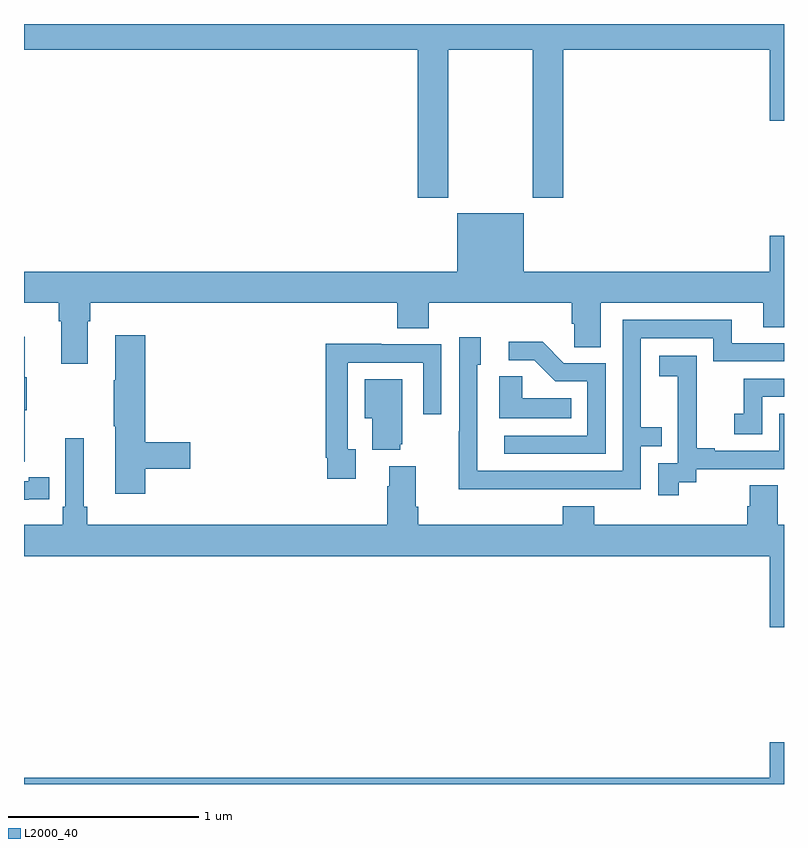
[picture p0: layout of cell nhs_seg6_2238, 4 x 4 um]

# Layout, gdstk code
import gdstk
lib = gdstk.Library(unit=1e-6, precision=1e-09)
def P(c, l, *ps):  # polygons
    for p in ps: c.add(gdstk.Polygon(p, *l))
L2000_40 = (2000, 40)

nhs_seg6_2238 = lib.new_cell('nhs_seg6_2238')
P(nhs_seg6_2238, L2000_40, [(247.233,919.364),(247.678,919.364),(247.678,918.585),(247.838,918.585),(247.838,919.364),(248.924,919.364),(248.924,918.99),(249,918.99),(249,919.5),(245,919.5),(245,919.364),(247.073,919.364),(247.073,918.585),(247.233,918.585)],
  [(245.335,917.936),(245.348,917.936),(245.348,918.032),(246.965,918.032),(246.965,917.899),(247.13,917.899),(247.13,918.032),(247.883,918.032),(247.883,917.923),(247.896,917.923),(247.896,917.8),(248.035,917.8),(248.035,918.032),(248.891,918.032),(248.891,917.905),(249,917.905),(249,918.385),(248.924,918.385),(248.924,918.196),(247.63,918.196),(247.63,918.505),(247.28,918.505),(247.28,918.196),(245,918.196),(245,918.032),(245.183,918.032),(245.183,917.936),(245.195,917.936),(245.195,917.712),(245.335,917.712)],
  [(247.751,917.052),(248.247,917.052),(248.247,917.277),(248.357,917.277),(248.357,917.378),(248.247,917.378),(248.247,917.847),(248.628,917.847),(248.628,917.724),(249,917.724),(249,917.82),(248.725,917.82),(248.725,917.943),(248.151,917.943),(248.151,917.148),(247.386,917.148),(247.386,917.706),(247.405,917.706),(247.405,917.851),(247.29,917.851),(247.29,917.357),(247.288,917.357),(247.288,917.051),(247.751,917.051)],
  [(245.639,917.158),(245.875,917.158),(245.875,917.3),(245.639,917.3),(245.639,917.863),(245.48,917.863),(245.48,917.624),(245.473,917.624),(245.473,917.383),(245.48,917.383),(245.48,917.028),(245.639,917.028)],
  [(245.003,917.467),(245.014,917.467),(245.014,917.641),(245.003,917.641),(245.003,917.854),(245,917.854),(245,917.196),(245.003,917.196)],
  [(248.061,917.715),(247.842,917.715),(247.729,917.828),(247.551,917.828),(247.551,917.73),(247.685,917.73),(247.796,917.619),(247.965,917.619),(247.965,917.334),(247.527,917.334),(247.527,917.238),(248.061,917.238)],
  [(246.745,917.262),(246.705,917.262),(246.705,917.718),(247.101,917.718),(247.101,917.445),(247.197,917.445),(247.197,917.814),(246.881,917.814),(246.881,917.816),(246.589,917.816),(246.589,917.218),(246.597,917.218),(246.597,917.106),(246.745,917.106)],
  [(248.446,917.089),(248.538,917.089),(248.538,917.157),(249,917.157),(249,917.448),(248.976,917.448),(248.976,917.253),(248.635,917.253),(248.635,917.266),(248.54,917.266),(248.54,917.549),(248.541,917.549),(248.541,917.755),(248.343,917.755),(248.343,917.645),(248.441,917.645),(248.441,917.417),(248.442,917.417),(248.442,917.187),(248.337,917.187),(248.337,917.019),(248.446,917.019)],
  [(247.88,917.53),(247.623,917.53),(247.623,917.645),(247.502,917.645),(247.502,917.426),(247.88,917.426)],
  [(248.886,917.538),(249,917.538),(249,917.634),(248.788,917.634),(248.788,917.449),(248.739,917.449),(248.739,917.34),(248.886,917.34)],
  [(246.98,917.289),(246.991,917.289),(246.991,917.629),(246.794,917.629),(246.794,917.426),(246.833,917.426),(246.833,917.258),(246.98,917.258)],
  [(249,916.864),(248.967,916.864),(248.967,917.072),(248.819,917.072),(248.819,916.962),(248.807,916.962),(248.807,916.864),(248,916.864),(248,916.963),(247.835,916.963),(247.835,916.864),(247.076,916.864),(247.076,916.96),(247.063,916.96),(247.063,917.173),(246.923,917.173),(246.923,917.066),(246.911,917.066),(246.911,916.864),(245.333,916.864),(245.333,916.96),(245.314,916.96),(245.314,917.32),(245.217,917.32),(245.217,916.96),(245.204,916.96),(245.204,916.864),(245,916.864),(245,916.7),(248.924,916.7),(248.924,916.326),(249,916.326)],
  [(245.024,916.998),(245.132,916.998),(245.132,917.114),(245.024,917.114),(245.024,917.094),(245,917.094),(245,916.997),(245.024,916.997)],
  [(249,915.721),(248.924,915.721),(248.924,915.532),(245,915.532),(245,915.5),(249,915.5)])

lib.write_gds('nhs_seg6_2238.gds')
